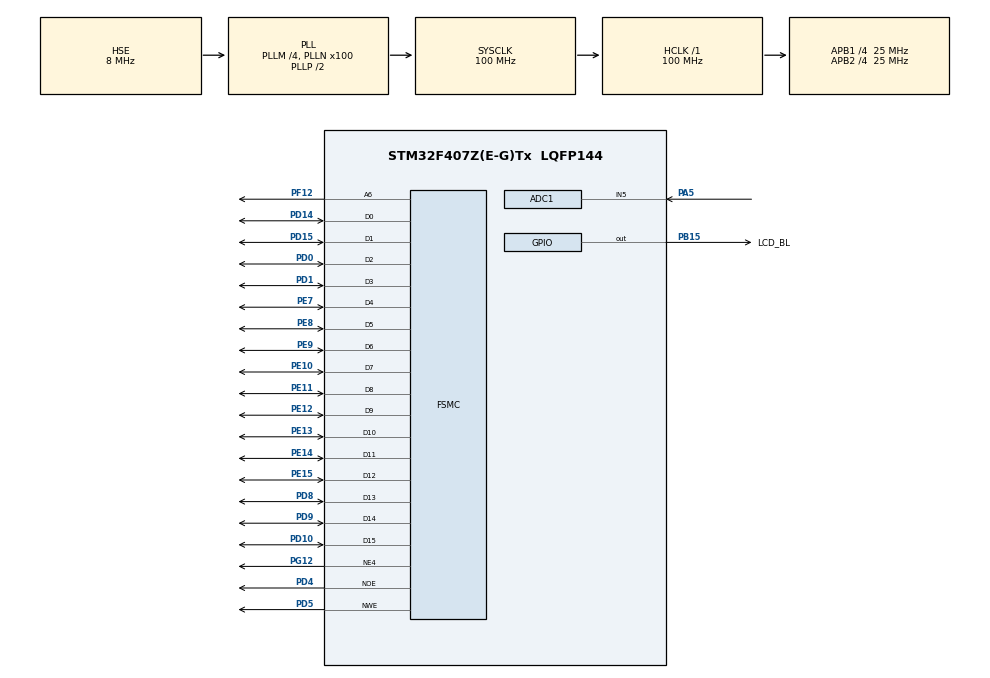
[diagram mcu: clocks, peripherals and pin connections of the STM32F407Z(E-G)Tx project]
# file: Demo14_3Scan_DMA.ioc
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ADC1.Channel-0\#ChannelRegularConversion=ADC_CHANNEL_5
ADC1.Channel-1\#ChannelRegularConversion=ADC_CHANNEL_VREFINT
ADC1.Channel-2\#ChannelRegularConversion=ADC_CHANNEL_VBAT
ADC1.DMAContinuousRequests=ENABLE
ADC1.EnableAnalogWatchDog=false
ADC1.ExternalTrigConv=ADC_EXTERNALTRIGCONV_T3_TRGO
ADC1.InjNumberOfConversion=0
ADC1.NbrOfConversion=3
ADC1.NbrOfConversionFlag=1
ADC1.Rank-0\#ChannelRegularConversion=1
ADC1.Rank-1\#ChannelRegularConversion=2
ADC1.Rank-2\#ChannelRegularConversion=3
ADC1.Resolution=ADC_RESOLUTION_12B
ADC1.SamplingTime-0\#ChannelRegularConversion=ADC_SAMPLETIME_15CYCLES
ADC1.SamplingTime-1\#ChannelRegularConversion=ADC_SAMPLETIME_28CYCLES
ADC1.SamplingTime-2\#ChannelRegularConversion=ADC_SAMPLETIME_28CYCLES
ADC1.ScanConvMode=ENABLE
ADC1.master=1
Dma.ADC1.0.Direction=DMA_PERIPH_TO_MEMORY
Dma.ADC1.0.FIFOMode=DMA_FIFOMODE_DISABLE
Dma.ADC1.0.Instance=DMA2_Stream0
Dma.ADC1.0.MemDataAlignment=DMA_MDATAALIGN_WORD
Dma.ADC1.0.MemInc=DMA_MINC_ENABLE
Dma.ADC1.0.Mode=DMA_CIRCULAR
Dma.ADC1.0.PeriphDataAlignment=DMA_PDATAALIGN_WORD
Dma.ADC1.0.PeriphInc=DMA_PINC_DISABLE
Dma.ADC1.0.Priority=DMA_PRIORITY_MEDIUM
Dma.Request0=ADC1
FSMC.AccessMode4=FSMC_ACCESS_MODE_A
FSMC.AddressSetupTime4=2
FSMC.BusTurnAroundDuration4=0
FSMC.DataSetupTime4=16
FSMC.ExtendedAccessMode4=FSMC_ACCESS_MODE_A
FSMC.ExtendedAddressSetupTime4=4
FSMC.ExtendedBusTurnAroundDuration4=0
FSMC.ExtendedDataSetupTime4=9
FSMC.ExtendedMode4=FSMC_EXTENDED_MODE_ENABLE
FSMC.MemoryType4=FSMC_MEMORY_TYPE_SRAM
FSMC.NSBank4=FSMC_NORSRAM_BANK4
FSMC.WriteOperation4=FSMC_WRITE_OPERATION_ENABLE
Mcu.Family=STM32F4
Mcu.Name=STM32F407Z(E-G)Tx
Mcu.Package=LQFP144
NVIC.ADC_IRQn=true\:1\:0\:true\:false\:true\:true\:true\:true
NVIC.DMA2_Stream0_IRQn=true\:0\:0\:false\:false\:true\:false\:true\:true
NVIC.PriorityGroup=NVIC_PRIORITYGROUP_4
PA13.Mode=Serial_Wire
PA13.Signal=SYS_JTMS-SWDIO
PA14.Mode=Serial_Wire
PA14.Signal=SYS_JTCK-SWCLK
PA5.Signal=ADCx_IN5
PB15.GPIO_Label=LCD_BL
PB15.PinState=GPIO_PIN_RESET
PB15.Signal=GPIO_Output
PC14-OSC32_IN.Mode=LSE-External-Oscillator
PC14-OSC32_IN.Signal=RCC_OSC32_IN
PC15-OSC32_OUT.Mode=LSE-External-Oscillator
PC15-OSC32_OUT.Signal=RCC_OSC32_OUT
PD0.Signal=FSMC_D2_DA2
PD1.Signal=FSMC_D3_DA3
PD10.Signal=FSMC_D15_DA15
PD14.Signal=FSMC_D0_DA0
PD15.Signal=FSMC_D1_DA1
PD4.Signal=FSMC_NOE
PD5.Signal=FSMC_NWE
PD8.Signal=FSMC_D13_DA13
PD9.Signal=FSMC_D14_DA14
PE10.Signal=FSMC_D7_DA7
PE11.Signal=FSMC_D8_DA8
PE12.Signal=FSMC_D9_DA9
PE13.Signal=FSMC_D10_DA10
PE14.Signal=FSMC_D11_DA11
PE15.Signal=FSMC_D12_DA12
PE7.Signal=FSMC_D4_DA4
PE8.Signal=FSMC_D5_DA5
PE9.Signal=FSMC_D6_DA6
PF12.Signal=FSMC_A6
PG12.Mode=NorPsramChipSelect4_4
PG12.Signal=FSMC_NE4
PH0-OSC_IN.Mode=HSE-External-Oscillator
PH0-OSC_IN.Signal=RCC_OSC_IN
PH1-OSC_OUT.Mode=HSE-External-Oscillator
PH1-OSC_OUT.Signal=RCC_OSC_OUT
ProjectManager.HeapSize=0x200
ProjectManager.StackSize=0x400
ProjectManager.TargetToolchain=STM32CubeIDE
RCC.48MHZClocksFreq_Value=50000000
RCC.AHBFreq_Value=100000000
RCC.APB1CLKDivider=RCC_HCLK_DIV4
RCC.APB1Freq_Value=25000000
RCC.APB1TimFreq_Value=50000000
RCC.APB2CLKDivider=RCC_HCLK_DIV4
RCC.APB2Freq_Value=25000000
RCC.APB2TimFreq_Value=50000000
RCC.CortexFreq_Value=100000000
RCC.FLatency=FLASH_LATENCY_3
RCC.HCLKFreq_Value=100000000
RCC.HSE_VALUE=8000000
RCC.HSI_VALUE=16000000
RCC.PLLM=4
RCC.PLLN=100
RCC.PLLSourceVirtual=RCC_PLLSOURCE_HSE
RCC.SYSCLKFreq_VALUE=100000000
RCC.SYSCLKSource=RCC_SYSCLKSOURCE_PLLCLK
RCC.VCOOutputFreq_Value=200000000
SH.ADCx_IN5.0=ADC1_IN5,IN5
SH.FSMC_A6.0=FSMC_A6,A6_4
SH.FSMC_D0_DA0.0=FSMC_D0,16b-d4
SH.FSMC_D10_DA10.0=FSMC_D10,16b-d4
SH.FSMC_D11_DA11.0=FSMC_D11,16b-d4
SH.FSMC_D12_DA12.0=FSMC_D12,16b-d4
SH.FSMC_D13_DA13.0=FSMC_D13,16b-d4
SH.FSMC_D14_DA14.0=FSMC_D14,16b-d4
SH.FSMC_D15_DA15.0=FSMC_D15,16b-d4
SH.FSMC_D1_DA1.0=FSMC_D1,16b-d4
SH.FSMC_D2_DA2.0=FSMC_D2,16b-d4
SH.FSMC_D3_DA3.0=FSMC_D3,16b-d4
SH.FSMC_D4_DA4.0=FSMC_D4,16b-d4
SH.FSMC_D5_DA5.0=FSMC_D5,16b-d4
SH.FSMC_D6_DA6.0=FSMC_D6,16b-d4
SH.FSMC_D7_DA7.0=FSMC_D7,16b-d4
SH.FSMC_D8_DA8.0=FSMC_D8,16b-d4
SH.FSMC_D9_DA9.0=FSMC_D9,16b-d4
SH.FSMC_NOE.0=FSMC_NOE,Lcd4
SH.FSMC_NWE.0=FSMC_NWE,Lcd4
TIM3.Period=499
TIM3.Prescaler=49999
TIM3.TIM_MasterOutputTrigger=TIM_TRGO_UPDATE
VP_ADC1_Vbat_Input.Mode=IN-Vbat
VP_ADC1_Vref_Input.Mode=IN-Vrefint
VP_TIM3_VS_ClockSourceINT.Mode=Internal
board=custom

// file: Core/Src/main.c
/* USER CODE BEGIN Header */
/**
  ******************************************************************************
  * @file           : main.c
  * @brief          : Main program body
  ******************************************************************************
  * @attention
  *
  * Copyright (c) 2023 STMicroelectronics.
  * All rights reserved.
  *
  * This software is licensed under terms that can be found in the LICENSE file
  * in the root directory of this software component.
  * If no LICENSE file comes with this software, it is provided AS-IS.
  *
  ******************************************************************************
  */
/* USER CODE END Header */
#include "main.h"
#include "adc.h"
#include "dma.h"
#include "tim.h"
#include "gpio.h"
#include "fsmc.h"

/* USER CODE BEGIN Includes */
#include "lcd.h"
/* USER CODE END Includes */

/* USER CODE BEGIN PV */
#define		BATCH_DATA_LEN	3
uint32_t	dmaDataBuffer[BATCH_DATA_LEN];
/* USER CODE END PV */

void SystemClock_Config(void);

int main(void)
{

  /* MCU Configuration--------------------------------------------------------*/

  /* Reset of all peripherals, Initializes the Flash interface and the Systick. */
  HAL_Init();

  /* Configure the system clock */
  SystemClock_Config();

  /* Initialize all configured peripherals */
  MX_GPIO_Init();
  MX_DMA_Init();
  MX_FSMC_Init();
  MX_ADC1_Init();
  MX_TIM3_Init();
  /* USER CODE BEGIN 2 */
  lcd_init();
  lcd_show_str(10, 10, 24, "Demo14_3:Muiti-channel Scan + DMA", RED);
  lcd_show_str(10, 40, 24, "Conversion triggered by", RED);
  lcd_show_str(10, 70, 24, "TIM3 with interval of 500ms", RED);
  lcd_show_str(10,100, 24, "Channel 5 Voltage(mV) = ", RED);
  lcd_show_str(10,160, 24, "Reference Voltage(mV) = ", RED);
  lcd_show_str(10,220, 24, "Battery   Voltage(mV) = ", RED);

  HAL_ADC_Start_DMA(&hadc1, dmaDataBuffer, BATCH_DATA_LEN);
  HAL_TIM_Base_Start(&htim3);
  /* USER CODE END 2 */

  /* Infinite loop */
  while (1)
  {

  }
}

void SystemClock_Config(void)
{
  RCC_OscInitTypeDef RCC_OscInitStruct = {0};
  RCC_ClkInitTypeDef RCC_ClkInitStruct = {0};

  /** Configure the main internal regulator output voltage
  */
  __HAL_RCC_PWR_CLK_ENABLE();
  __HAL_PWR_VOLTAGESCALING_CONFIG(PWR_REGULATOR_VOLTAGE_SCALE1);

  /** Initializes the RCC Oscillators according to the specified parameters
  * in the RCC_OscInitTypeDef structure.
  */
  RCC_OscInitStruct.OscillatorType = RCC_OSCILLATORTYPE_HSE;
  RCC_OscInitStruct.HSEState = RCC_HSE_ON;
  RCC_OscInitStruct.PLL.PLLState = RCC_PLL_ON;
  RCC_OscInitStruct.PLL.PLLSource = RCC_PLLSOURCE_HSE;
  RCC_OscInitStruct.PLL.PLLM = 4;
  RCC_OscInitStruct.PLL.PLLN = 100;
  RCC_OscInitStruct.PLL.PLLP = RCC_PLLP_DIV2;
  RCC_OscInitStruct.PLL.PLLQ = 4;
  if (HAL_RCC_OscConfig(&RCC_OscInitStruct) != HAL_OK)
  {
    Error_Handler();
  }

  /** Initializes the CPU, AHB and APB buses clocks
  */
  RCC_ClkInitStruct.ClockType = RCC_CLOCKTYPE_HCLK|RCC_CLOCKTYPE_SYSCLK
                              |RCC_CLOCKTYPE_PCLK1|RCC_CLOCKTYPE_PCLK2;
  RCC_ClkInitStruct.SYSCLKSource = RCC_SYSCLKSOURCE_PLLCLK;
  RCC_ClkInitStruct.AHBCLKDivider = RCC_SYSCLK_DIV1;
  RCC_ClkInitStruct.APB1CLKDivider = RCC_HCLK_DIV4;
  RCC_ClkInitStruct.APB2CLKDivider = RCC_HCLK_DIV4;

  if (HAL_RCC_ClockConfig(&RCC_ClkInitStruct, FLASH_LATENCY_3) != HAL_OK)
  {
    Error_Handler();
  }
}

/* USER CODE BEGIN 4 */
__weak void HAL_ADC_ConvCpltCallback(ADC_HandleTypeDef* hadc) {
	uint32_t adcValue = 0, Volt;
	for (uint8_t i = 0; i < BATCH_DATA_LEN; ++i) {
		adcValue = dmaDataBuffer[i];
		Volt = 3300 * adcValue >> 12;
		if (i % 3 == 0) {
			lcd_show_num(50, 130, Volt, 4, 24, RED);
		} else if (i % 3 == 1) {
			lcd_show_num(50, 190, Volt, 4, 24, RED);
		} else if (i % 3 == 2) {
			lcd_show_num(50, 250, Volt, 4, 24, RED);
		}
	}
}
/* USER CODE END 4 */

void Error_Handler(void)
{
  __disable_irq();
  while (1)
  {
  }
}
